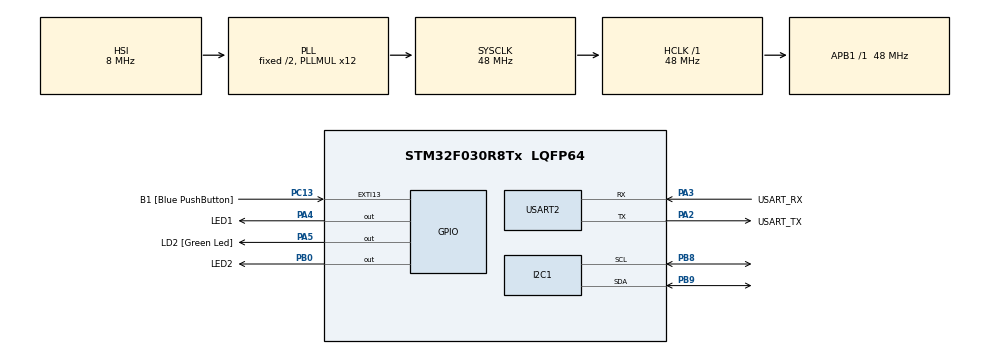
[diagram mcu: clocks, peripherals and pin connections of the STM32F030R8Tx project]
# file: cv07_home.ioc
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FREERTOS.Queues01=xVisualQueue,16,uint16_t,0,Dynamic,NULL,NULL
FREERTOS.Tasks01=defaultTask,0,128,StartDefaultTask,Default,NULL,Dynamic,NULL,NULL;VisualTask,0,128,StartVisualTask,Default,NULL,Dynamic,NULL,NULL;AcceleroTask,0,128,StartAcceleroTask,Default,NULL,Dynamic,NULL,NULL
Mcu.Family=STM32F0
Mcu.Name=STM32F030R8Tx
Mcu.Package=LQFP64
NVIC.TIM1_BRK_UP_TRG_COM_IRQn=true\:0\:0\:false\:false\:true\:false\:false\:true
NVIC.TimeBase=TIM1_BRK_UP_TRG_COM_IRQn
NVIC.TimeBaseIP=TIM1
PA13.GPIO_Label=TMS
PA13.Mode=Serial_Wire
PA13.Signal=SYS_SWDIO
PA14.GPIO_Label=TCK
PA14.Mode=Serial_Wire
PA14.Signal=SYS_SWCLK
PA2.GPIO_Label=USART_TX
PA2.GPIO_Mode=GPIO_MODE_AF_PP
PA2.GPIO_PuPd=GPIO_NOPULL
PA2.GPIO_Speed=GPIO_SPEED_FREQ_LOW
PA2.Mode=Asynchronous
PA2.Signal=USART2_TX
PA3.GPIO_Label=USART_RX
PA3.GPIO_Mode=GPIO_MODE_AF_PP
PA3.GPIO_PuPd=GPIO_NOPULL
PA3.GPIO_Speed=GPIO_SPEED_FREQ_LOW
PA3.Mode=Asynchronous
PA3.Signal=USART2_RX
PA4.GPIO_Label=LED1
PA4.Signal=GPIO_Output
PA5.GPIO_Label=LD2 [Green Led]
PA5.GPIO_Mode=GPIO_MODE_OUTPUT_PP
PA5.GPIO_PuPd=GPIO_NOPULL
PA5.GPIO_Speed=GPIO_SPEED_FREQ_LOW
PA5.Signal=GPIO_Output
PB0.GPIO_Label=LED2
PB0.Signal=GPIO_Output
PB8.Mode=I2C
PB8.Signal=I2C1_SCL
PB9.Mode=I2C
PB9.Signal=I2C1_SDA
PC13.GPIO_Label=B1 [Blue PushButton]
PC13.GPIO_ModeDefaultEXTI=GPIO_MODE_IT_FALLING
PC13.Signal=GPXTI13
PC14-OSC32_IN.Mode=LSE-External-Oscillator
PC14-OSC32_IN.Signal=RCC_OSC32_IN
PC15-OSC32_OUT.Mode=LSE-External-Oscillator
PC15-OSC32_OUT.Signal=RCC_OSC32_OUT
PF0-OSC_IN.Mode=HSE-External-Clock-Source
PF0-OSC_IN.Signal=RCC_OSC_IN
PF1-OSC_OUT.Signal=RCC_OSC_OUT
ProjectManager.HeapSize=0x200
ProjectManager.StackSize=0x400
ProjectManager.TargetToolchain=STM32CubeIDE
RCC.AHBFreq_Value=48000000
RCC.APB1Freq_Value=48000000
RCC.APB1TimFreq_Value=48000000
RCC.HCLKFreq_Value=48000000
RCC.PLLMUL=RCC_PLL_MUL12
RCC.SYSCLKFreq_VALUE=48000000
RCC.SYSCLKSource=RCC_SYSCLKSOURCE_PLLCLK
USART2.VirtualMode-Asynchronous=VM_ASYNC
VP_FREERTOS_VS_CMSIS_V1.Mode=CMSIS_V1
VP_SYS_VS_tim1.Mode=TIM1
board=NUCLEO-F030R8

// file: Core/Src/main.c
/* USER CODE BEGIN Header */
/**
  ******************************************************************************
  * @file           : main.c
  * @brief          : Main program body
  ******************************************************************************
  * @attention
  *
  * <h2><center>&copy; Copyright (c) 2020 STMicroelectronics.
  * All rights reserved.</center></h2>
  *
  * This software component is licensed by ST under BSD 3-Clause license,
  * the "License"; You may not use this file except in compliance with the
  * License. You may obtain a copy of the License at:
  *                        opensource.org/licenses/BSD-3-Clause
  *
  ******************************************************************************
  */
/* USER CODE END Header */

#include "main.h"

/* USER CODE BEGIN Includes */
#include "cmsis_os.h"
#include "lis2dw12_reg.h"
#include <stdio.h>
#include <string.h>
/* USER CODE END Includes */

/* USER CODE BEGIN PTD */
typedef union
{
	int16_t i16bit [3];
	uint8_t u8bit [8];
} axis3bit16_t;

/* USER CODE END PTD */

/* USER CODE BEGIN PD */
#define SEND_TO_QUEUE 50
#define ACCELERO_DELAY 1000
/* USER CODE END PD */

I2C_HandleTypeDef hi2c1;

UART_HandleTypeDef huart2;

osThreadId defaultTaskHandle;
osThreadId VisualTaskHandle;
osThreadId AcceleroTaskHandle;
osMessageQId xVisualQueueHandle;

void SystemClock_Config(void);
static void MX_GPIO_Init(void);
static void MX_USART2_UART_Init(void);
static void MX_I2C1_Init(void);
void StartDefaultTask(void const * argument);
void StartVisualTask(void const * argument);
void StartAcceleroTask(void const * argument);

/* USER CODE BEGIN PFP */
static int32_t platform_write(void *handle, uint8_t reg, uint8_t *bufp, uint16_t len);
static int32_t platform_read(void *handle, uint8_t reg, uint8_t *bufp, uint16_t len);
static stmdev_ctx_t lis2dw12 = {
 .write_reg = platform_write,
 .read_reg = platform_read,
 .handle = &hi2c1,
};
/* USER CODE END PFP */

/* USER CODE BEGIN 0 */

int16_t msg;

static int32_t platform_write(void *handle, uint8_t reg, uint8_t *bufp, uint16_t len)
{
 HAL_I2C_Mem_Write(handle, LIS2DW12_I2C_ADD_H, reg, I2C_MEMADD_SIZE_8BIT, bufp, len, 1000);
 return 0;
}
static int32_t platform_read(void *handle, uint8_t reg, uint8_t *bufp, uint16_t len)
{
 HAL_I2C_Mem_Read(handle, LIS2DW12_I2C_ADD_H, reg, I2C_MEMADD_SIZE_8BIT, bufp, len, 1000);
 return 0;
}

int _write(int file, char const *buf, int n)
{
 /* stdout redirection to UART2 */
 HAL_UART_Transmit(&huart2, (uint8_t*)(buf), n, HAL_MAX_DELAY);
 return n;
}

/* USER CODE END 0 */

int main(void)
{

  /* MCU Configuration--------------------------------------------------------*/

  /* Reset of all peripherals, Initializes the Flash interface and the Systick. */
  HAL_Init();

  /* Configure the system clock */
  SystemClock_Config();

  /* Initialize all configured peripherals */
  MX_GPIO_Init();
  MX_USART2_UART_Init();
  MX_I2C1_Init();
  /* USER CODE BEGIN 2 */

  printf("Hello\n");

  /* USER CODE END 2 */

  /* Create the queue(s) */
  /* definition and creation of xVisualQueue */
  osMessageQDef(xVisualQueue, 16, uint16_t);
  xVisualQueueHandle = osMessageCreate(osMessageQ(xVisualQueue), NULL);

  /* Create the thread(s) */
  /* definition and creation of defaultTask */
  osThreadDef(defaultTask, StartDefaultTask, osPriorityNormal, 0, 128);
  defaultTaskHandle = osThreadCreate(osThread(defaultTask), NULL);

  /* definition and creation of VisualTask */
  osThreadDef(VisualTask, StartVisualTask, osPriorityNormal, 0, 128);
  VisualTaskHandle = osThreadCreate(osThread(VisualTask), NULL);

  /* definition and creation of AcceleroTask */
  osThreadDef(AcceleroTask, StartAcceleroTask, osPriorityNormal, 0, 128);
  AcceleroTaskHandle = osThreadCreate(osThread(AcceleroTask), NULL);

  /* Start scheduler */
  osKernelStart();

  /* We should never get here as control is now taken by the scheduler */
  /* Infinite loop */
  while (1)
  {

  }
}

void SystemClock_Config(void)
{
  RCC_OscInitTypeDef RCC_OscInitStruct = {0};
  RCC_ClkInitTypeDef RCC_ClkInitStruct = {0};
  RCC_PeriphCLKInitTypeDef PeriphClkInit = {0};

  /** Initializes the CPU, AHB and APB busses clocks
  */
  RCC_OscInitStruct.OscillatorType = RCC_OSCILLATORTYPE_HSI;
  RCC_OscInitStruct.HSIState = RCC_HSI_ON;
  RCC_OscInitStruct.HSICalibrationValue = RCC_HSICALIBRATION_DEFAULT;
  RCC_OscInitStruct.PLL.PLLState = RCC_PLL_ON;
  RCC_OscInitStruct.PLL.PLLSource = RCC_PLLSOURCE_HSI;
  RCC_OscInitStruct.PLL.PLLMUL = RCC_PLL_MUL12;
  RCC_OscInitStruct.PLL.PREDIV = RCC_PREDIV_DIV1;
  if (HAL_RCC_OscConfig(&RCC_OscInitStruct) != HAL_OK)
  {
    Error_Handler();
  }
  /** Initializes the CPU, AHB and APB busses clocks
  */
  RCC_ClkInitStruct.ClockType = RCC_CLOCKTYPE_HCLK|RCC_CLOCKTYPE_SYSCLK
                              |RCC_CLOCKTYPE_PCLK1;
  RCC_ClkInitStruct.SYSCLKSource = RCC_SYSCLKSOURCE_PLLCLK;
  RCC_ClkInitStruct.AHBCLKDivider = RCC_SYSCLK_DIV1;
  RCC_ClkInitStruct.APB1CLKDivider = RCC_HCLK_DIV1;

  if (HAL_RCC_ClockConfig(&RCC_ClkInitStruct, FLASH_LATENCY_1) != HAL_OK)
  {
    Error_Handler();
  }
  PeriphClkInit.PeriphClockSelection = RCC_PERIPHCLK_I2C1;
  PeriphClkInit.I2c1ClockSelection = RCC_I2C1CLKSOURCE_HSI;
  if (HAL_RCCEx_PeriphCLKConfig(&PeriphClkInit) != HAL_OK)
  {
    Error_Handler();
  }
}

static void MX_I2C1_Init(void)
{

  hi2c1.Instance = I2C1;
  hi2c1.Init.Timing = 0x2000090E;
  hi2c1.Init.OwnAddress1 = 0;
  hi2c1.Init.AddressingMode = I2C_ADDRESSINGMODE_7BIT;
  hi2c1.Init.DualAddressMode = I2C_DUALADDRESS_DISABLE;
  hi2c1.Init.OwnAddress2 = 0;
  hi2c1.Init.OwnAddress2Masks = I2C_OA2_NOMASK;
  hi2c1.Init.GeneralCallMode = I2C_GENERALCALL_DISABLE;
  hi2c1.Init.NoStretchMode = I2C_NOSTRETCH_DISABLE;
  if (HAL_I2C_Init(&hi2c1) != HAL_OK)
  {
    Error_Handler();
  }
  /** Configure Analogue filter
  */
  if (HAL_I2CEx_ConfigAnalogFilter(&hi2c1, I2C_ANALOGFILTER_ENABLE) != HAL_OK)
  {
    Error_Handler();
  }
  /** Configure Digital filter
  */
  if (HAL_I2CEx_ConfigDigitalFilter(&hi2c1, 0) != HAL_OK)
  {
    Error_Handler();
  }

}

static void MX_USART2_UART_Init(void)
{

  huart2.Instance = USART2;
  huart2.Init.BaudRate = 38400;
  huart2.Init.WordLength = UART_WORDLENGTH_8B;
  huart2.Init.StopBits = UART_STOPBITS_1;
  huart2.Init.Parity = UART_PARITY_NONE;
  huart2.Init.Mode = UART_MODE_TX_RX;
  huart2.Init.HwFlowCtl = UART_HWCONTROL_NONE;
  huart2.Init.OverSampling = UART_OVERSAMPLING_16;
  huart2.Init.OneBitSampling = UART_ONE_BIT_SAMPLE_DISABLE;
  huart2.AdvancedInit.AdvFeatureInit = UART_ADVFEATURE_NO_INIT;
  if (HAL_UART_Init(&huart2) != HAL_OK)
  {
    Error_Handler();
  }

}

static void MX_GPIO_Init(void)
{
  GPIO_InitTypeDef GPIO_InitStruct = {0};

  /* GPIO Ports Clock Enable */
  __HAL_RCC_GPIOC_CLK_ENABLE();
  __HAL_RCC_GPIOF_CLK_ENABLE();
  __HAL_RCC_GPIOA_CLK_ENABLE();
  __HAL_RCC_GPIOB_CLK_ENABLE();

  /*Configure GPIO pin Output Level */
  HAL_GPIO_WritePin(GPIOA, LED1_Pin|LD2_Pin, GPIO_PIN_RESET);

  /*Configure GPIO pin Output Level */
  HAL_GPIO_WritePin(LED2_GPIO_Port, LED2_Pin, GPIO_PIN_RESET);

  /*Configure GPIO pin : B1_Pin */
  GPIO_InitStruct.Pin = B1_Pin;
  GPIO_InitStruct.Mode = GPIO_MODE_IT_FALLING;
  GPIO_InitStruct.Pull = GPIO_NOPULL;
  HAL_GPIO_Init(B1_GPIO_Port, &GPIO_InitStruct);

  /*Configure GPIO pins : LED1_Pin LD2_Pin */
  GPIO_InitStruct.Pin = LED1_Pin|LD2_Pin;
  GPIO_InitStruct.Mode = GPIO_MODE_OUTPUT_PP;
  GPIO_InitStruct.Pull = GPIO_NOPULL;
  GPIO_InitStruct.Speed = GPIO_SPEED_FREQ_LOW;
  HAL_GPIO_Init(GPIOA, &GPIO_InitStruct);

  /*Configure GPIO pin : LED2_Pin */
  GPIO_InitStruct.Pin = LED2_Pin;
  GPIO_InitStruct.Mode = GPIO_MODE_OUTPUT_PP;
  GPIO_InitStruct.Pull = GPIO_NOPULL;
  GPIO_InitStruct.Speed = GPIO_SPEED_FREQ_LOW;
  HAL_GPIO_Init(LED2_GPIO_Port, &GPIO_InitStruct);

}

void StartDefaultTask(void const * argument)
{
  for(;;)
  {
    osDelay(1);
  }
}

void StartVisualTask(void const * argument)
{
  /* USER CODE BEGIN StartVisualTask */
  /* Infinite loop */
  for(;;)
  {
	  osDelay(1);

	  if (xQueueReceive(xVisualQueueHandle, &msg, portMAX_DELAY))
	  {
		  if (msg < -200)
		  {
			  HAL_GPIO_WritePin(LED2_GPIO_Port, LED1_Pin, 1);
			  HAL_GPIO_WritePin(LED2_GPIO_Port, LED2_Pin, 0);
		  }
		  else if (msg > 200)
		  {
			  HAL_GPIO_WritePin(LED2_GPIO_Port, LED2_Pin, 1);
			  HAL_GPIO_WritePin(LED2_GPIO_Port, LED1_Pin, 0);
		  }
	  }
  }
  /* USER CODE END StartVisualTask */
}

void StartAcceleroTask(void const * argument)
{
  /* USER CODE BEGIN StartAcceleroTask */
	uint8_t whoamI = 0;
	uint8_t samples;
	uint16_t counter =0;
	axis3bit16_t data_raw_acceleration;

	lis2dw12_device_id_get(&lis2dw12, &whoamI);
	printf("LIS2DW12_ID %s\n", (whoamI == LIS2DW12_ID) ? "OK" : "FAIL");

	lis2dw12_full_scale_set(&lis2dw12, LIS2DW12_2g);
	lis2dw12_power_mode_set(&lis2dw12, LIS2DW12_CONT_LOW_PWR_LOW_NOISE_2);
	lis2dw12_block_data_update_set(&lis2dw12, PROPERTY_ENABLE);
	lis2dw12_fifo_mode_set(&lis2dw12, LIS2DW12_STREAM_MODE); // enable continuous FIFO
	lis2dw12_data_rate_set(&lis2dw12, LIS2DW12_XL_ODR_25Hz); // enable part from power-down
  /* Infinite loop */
	for(;;)
	{
		/*
		 * osDelay(1);
		xQueueSend(xVisualQueueHandle, &msg, 0);
		osDelay(300);
		 */
		if (counter > ACCELERO_DELAY/SEND_TO_QUEUE)
		{
			lis2dw12_fifo_data_level_get(&lis2dw12, &samples);
			for (uint8_t i = 0; i < samples; i++)
			{
				// Read acceleration data
				lis2dw12_acceleration_raw_get(&lis2dw12, data_raw_acceleration.u8bit);
				printf("X=%d Y=%d Z=%d\n", data_raw_acceleration.i16bit[0],
						data_raw_acceleration.i16bit[1], data_raw_acceleration.i16bit[2]);
			}
			counter=0;
		}
		xQueueSend(xVisualQueueHandle, &data_raw_acceleration.i16bit[0], 0);
		osDelay(SEND_TO_QUEUE);
		counter++;

	}
  /* USER CODE END StartAcceleroTask */
}

 /**
  * @brief  Period elapsed callback in non blocking mode
  * @note   This function is called  when TIM1 interrupt took place, inside
  * HAL_TIM_IRQHandler(). It makes a direct call to HAL_IncTick() to increment
  * a global variable "uwTick" used as application time base.
  * @param  htim : TIM handle
  * @retval None
  */
void HAL_TIM_PeriodElapsedCallback(TIM_HandleTypeDef *htim)
{
  if (htim->Instance == TIM1) {
    HAL_IncTick();
  }
}

void Error_Handler(void)
{
}

/************************ (C) COPYRIGHT STMicroelectronics *****END OF FILE****/
